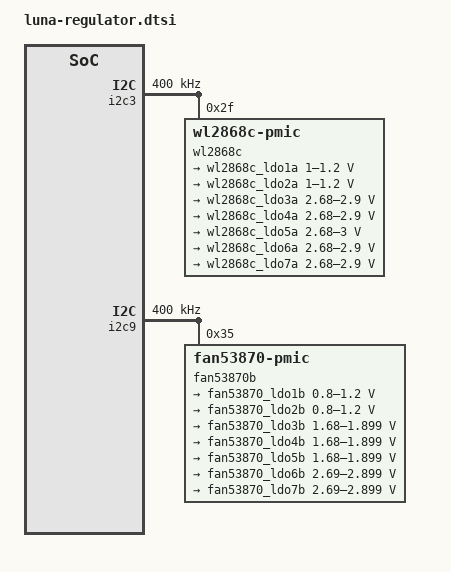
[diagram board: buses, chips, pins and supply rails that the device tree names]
// SPDX-License-Identifier: GPL-2.0
/*
 * Copyright (C) 2021 MediaTek Inc.
 */

&pio {
	wl2868c_default: state_default_a {
		pins_cmd_dat {
			pinmux = <PINMUX_GPIO204__FUNC_GPIO204>;
		};
	};
	// gpio205 pull up to enable dvdd supply
	wl2868c_reset_high: state_reset_high_a {
		pins_cmd_dat {
			pinmux = <PINMUX_GPIO204__FUNC_GPIO204>,
			<PINMUX_GPIO205__FUNC_GPIO205>;
			slew-rate = <1>;
			output-high;
		};
	};
	wl2868c_reset_low: state_reset_low_a {
		pins_cmd_dat {
			pinmux = <PINMUX_GPIO204__FUNC_GPIO204>;
			//<PINMUX_GPIO205__FUNC_GPIO205>;
			slew-rate = <1>;
			output-low;
		};
	};
	fan53870b_default: state_default_b {
		pins_cmd_dat {
			pinmux = <PINMUX_GPIO203__FUNC_GPIO203>;
		};
	};
	fan53870b_reset_high: state_reset_high_b {
		pins_cmd_dat {
			pinmux = <PINMUX_GPIO203__FUNC_GPIO203>;
			//<PINMUX_GPIO205__FUNC_GPIO205>;
			slew-rate = <1>;
			output-high;
		};
	};
	fan53870b_reset_low: state_reset_low_b {
		pins_cmd_dat {
			pinmux = <PINMUX_GPIO203__FUNC_GPIO203>;
			//<PINMUX_GPIO205__FUNC_GPIO205>;
			slew-rate = <1>;
			output-low;
		};
	};
};

&i2c3 {
	clock-frequency = <400000>;
	wl2868c@2F {
		compatible = "wl2868c-pmic";
		reg = <0x2F>;
		//vin12-supply = <&gpio205_regulator>;
		pinctrl-names = "default", "reset_high", "reset_low";
		pinctrl-0 = <&wl2868c_default>;
		pinctrl-1 = <&wl2868c_reset_high>;
		pinctrl-2 = <&wl2868c_reset_low>;
		regulators {
			wl2868c_ldo1a:ONLDO1 {
				regulator-name = "wl2868c_ldo1a";
				regulator-min-microvolt = <1000000>;
				regulator-max-microvolt = <1200000>;
			};
			wl2868c_ldo2a:ONLDO2 {
				regulator-name = "wl2868c_ldo2a";
				regulator-min-microvolt = <1000000>;
				regulator-max-microvolt = <1200000>;
			};
			wl2868c_ldo3a:ONLDO3 {
				regulator-name = "wl2868c_ldo3a";
				regulator-min-microvolt = <2680000>;
				regulator-max-microvolt = <2900000>;
			};
			wl2868c_ldo4a:ONLDO4 {
				regulator-name = "wl2868c_ldo4a";
				regulator-min-microvolt = <2680000>;
				regulator-max-microvolt = <2900000>;
			};
			wl2868c_ldo5a:ONLDO5 {
				regulator-name = "wl2868c_ldo5a";
				regulator-min-microvolt = <2680000>;
				regulator-max-microvolt = <3000000>;
			};
			wl2868c_ldo6a:ONLDO6 {
				regulator-name = "wl2868c_ldo6a";
				regulator-min-microvolt = <2680000>;
				regulator-max-microvolt = <2900000>;
			};
			wl2868c_ldo7a:ONLDO7 {
				regulator-name = "wl2868c_ldo7a";
				regulator-min-microvolt = <2680000>;
				regulator-max-microvolt = <2900000>;
			};
		};
	};
};

&i2c9 {
	clock-frequency = <400000>;
	fan53870b@35 {
		compatible = "fan53870-pmic";
		reg = <0x35>;
		pinctrl-names = "default", "reset_high", "reset_low";
		pinctrl-0 = <&fan53870b_default>;
		pinctrl-1 = <&fan53870b_reset_high>;
		pinctrl-2 = <&fan53870b_reset_low>;

		regulators {
			fan53870_ldo1b:ONLDO1 {
				regulator-name = "fan53870_ldo1b";
				regulator-min-microvolt = <800000>;
				regulator-max-microvolt = <1200000>;
			};
			fan53870_ldo2b:ONLDO2 {
				regulator-name = "fan53870_ldo2b";
				regulator-min-microvolt = <800000>;
				regulator-max-microvolt = <1200000>;
			};
			fan53870_ldo3b:ONLDO3 {
				regulator-name = "fan53870_ldo3b";
				regulator-min-microvolt = <1680000>;
				regulator-max-microvolt = <1899000>;
			};
			fan53870_ldo4b:ONLDO4 {
				regulator-name = "fan53870_ldo4b";
				regulator-min-microvolt = <1680000>;
				regulator-max-microvolt = <1899000>;
			};
			fan53870_ldo5b:ONLDO5 {
				regulator-name = "fan53870_ldo5b";
				regulator-min-microvolt = <1680000>;
				regulator-max-microvolt = <1899000>;
			};
			fan53870_ldo6b:ONLDO6 {
				regulator-name = "fan53870_ldo6b";
				regulator-min-microvolt = <2690000>;
				regulator-max-microvolt = <2899000>;
			};
			fan53870_ldo7b:ONLDO7 {
				regulator-name = "fan53870_ldo7b";
				regulator-min-microvolt = <2690000>;
				regulator-max-microvolt = <2899000>;
			};
		};
	};
};
